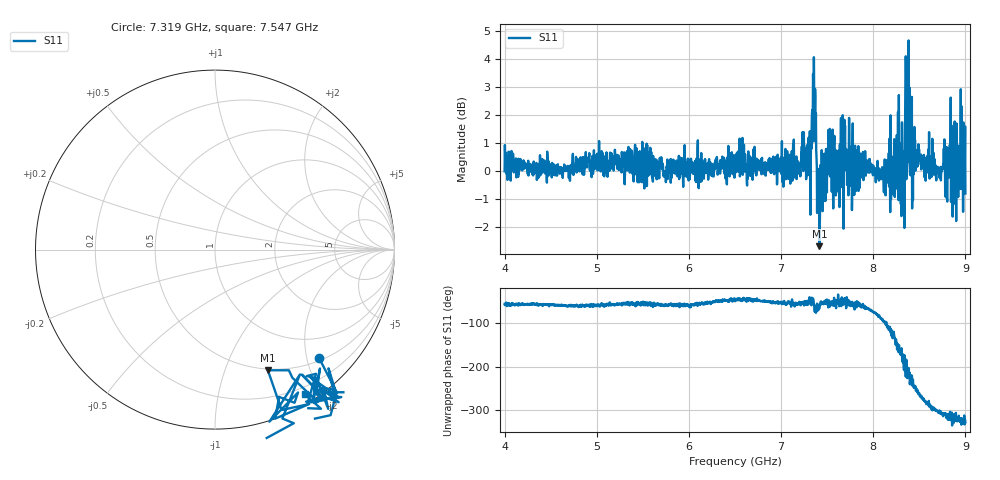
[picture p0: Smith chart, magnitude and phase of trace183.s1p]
! Created with skrf 1.8.0 (http://scikit-rf.org).
# Hz S RI R 50.0
!freq ReS11 ImS11
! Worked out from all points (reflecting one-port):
!   1601 points, 4 GHz to 9 GHz, reference 50 ohm
!   lowest |S11| = -2.7 dB at 7.416 GHz (marker M1), VSWR 6.52, Z = 24.3 - j70.8 ohm
!   phase of S11 starts at -57 deg and turns -271 deg over the sweep
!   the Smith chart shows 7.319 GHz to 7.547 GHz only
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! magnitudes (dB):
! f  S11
! 4 GHz  0.0
! 4.625 GHz  -0.1
! 5.25 GHz  0.0
! 5.875 GHz  0.2
! 6.5 GHz  0.2
! 7.125 GHz  0.3
! 7.297 GHz  1.2
! 7.356 GHz  4.0
! 7.381 GHz  0.7
! 7.397 GHz  -0.7
! 7.416 GHz  -2.7
! 7.512 GHz  1.5
! 7.619 GHz  0.0
! 7.669 GHz  2.0
! 7.75 GHz  0.0
! 8.209 GHz  -0.4
! 8.262 GHz  -0.4
! 8.312 GHz  1.7
! 8.331 GHz  0.6
! 8.347 GHz  2.3
! 8.366 GHz  0.0
! 8.375 GHz  2.4
! 8.447 GHz  1.6
! 8.709 GHz  0.0
! 8.834 GHz  0.8
! 8.875 GHz  0.4
! 8.972 GHz  0.5
! 9 GHz  -0.8
